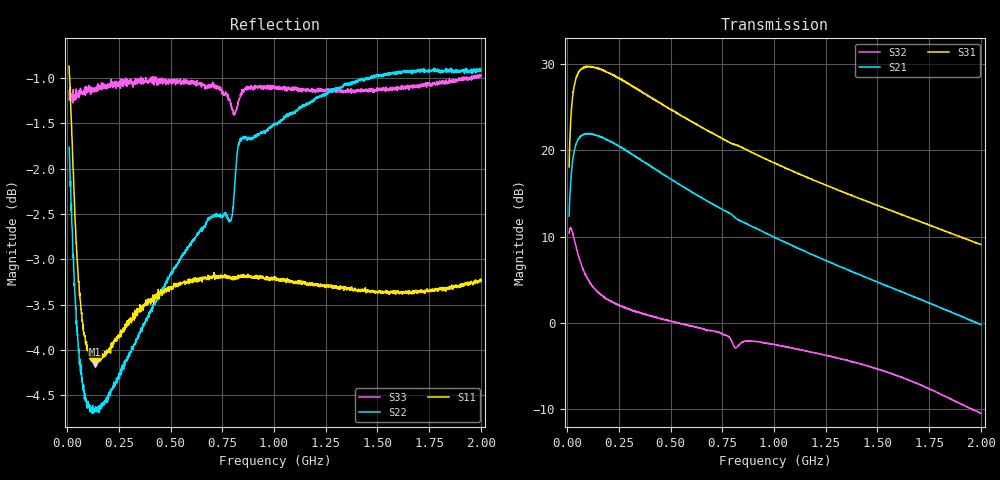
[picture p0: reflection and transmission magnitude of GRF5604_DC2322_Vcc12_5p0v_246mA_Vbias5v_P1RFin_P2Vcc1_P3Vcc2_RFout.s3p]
!Keysight Technologies,N5244B,MY57181157,A.18.40.03
!Date: Wednesday, September 10, 2025 10:25:03
!Correction: S11(C  3-Port  )
!S12(C  3-Port  )
!S13(C  3-Port  )
!S21(C  3-Port  )
!S22(C  3-Port  )
!S23(C  3-Port  )
!S31(C  3-Port  )
!S32(C  3-Port  )
!S33(C  3-Port  )
!S3P File: Measurements: <S11,S12,S13>,
!<S21,S22,S23>,
!<S31,S32,S33>:
# Hz S  RI  R 50
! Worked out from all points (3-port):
!   1991 points, 10 MHz to 2 GHz, reference 50 ohm
!   strongest paths, dB at 10 MHz, 507 MHz, 1.005 GHz, 1.503 GHz, 2 GHz:
!     S31: 18.1, 24.6, 18.5, 13.6, 9.1
!     S21: 12.4, 16.6, 9.9, 4.7, -0.2
!     S32: 10.4, 0.1, -2.5, -5.4, -10.5
!   lowest |S11| = -4.2 dB at 136 MHz (marker M1), VSWR 4.26, Z = 41 - j71 ohm
!   |S11| at or under -10 dB: nowhere
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1e7  0.8895 -0.1651  0.0406 -0.0123  -0.000122 0.000313
     -1.768 -3.759  0.713 -0.3973  0.00342 -0.00887
     -1.507 7.875  -3.061 -1.241  -0.2526 -0.8291
3e7  0.7188 -0.3362  0.0274 -0.019  4.31e-05 2.19e-05
     -7.155 -5.737  0.2258 -0.6755  0.00149 0.000114
     13.36 17.09  -3.069 0.9469  -0.7651 -0.4137
6e7  0.5397 -0.4071  0.0144 -0.0159  0.000119 -6.62e-05
     -11.45 -2.769  -0.1988 -0.5872  0.00329 0.00267
     27.04 9.821  -1.96 1.283  -0.8472 -0.2257
9.2e7  0.4345 -0.4645  0.00996 -0.0113  7.67e-05 6.28e-05
       -12.45 0.5292  -0.3653 -0.4647  0.00502 0.00402
       30.41 0.728  -1.48 1.131  -0.8603 -0.1575
1.36e8  0.3172 -0.5327  0.00817 -0.00747  0.000118 1.81e-05
        -11.64 3.813  -0.4588 -0.3609  0.00623 0.0044
        28.99 -8.482  -1.213 0.9907  -0.8732 -0.1127
2.69e8  -0.00503 -0.6458  0.00775 -0.00233  -4.71e-05 0.000448
        -6.622 7.83  -0.5699 -0.2371  0.00937 0.00496
        16.1 -19.7  -0.8827 0.8741  -0.8869 -0.0656
4.91e8  -0.3456 -0.5881  0.00889 -0.000698  -0.000263 0.000803
        -0.9351 6.861  -0.6735 -0.1525  0.0111 0.00469
        1.006 -17.57  -0.5556 0.8691  -0.8884 -0.0486
7.02e8  -0.4934 -0.4839  0.00927 -0.000303  -0.000459 0.00143
        1.071 4.769  -0.7429 -0.09  0.0121 0.00605
        -4.347 -11.75  -0.2877 0.8533  -0.8808 -0.0344
1.005e9  -0.5939 -0.3561  0.00855 -0.00098  -0.000631 0.002
         1.733 2.608  -0.8406 -0.00531  0.00885 0.00179
         -6.156 -5.77  -0.0315 0.7476  -0.8809 -0.025
2e9  -0.6879 0.0486  0.00804 0.0023  0.000452 0.00466
     0.9625 0.1619  -0.8068 0.3984  0.00989 0.00987
     -2.664 0.9908  0.2326 0.1882  -0.8823 0.1393
